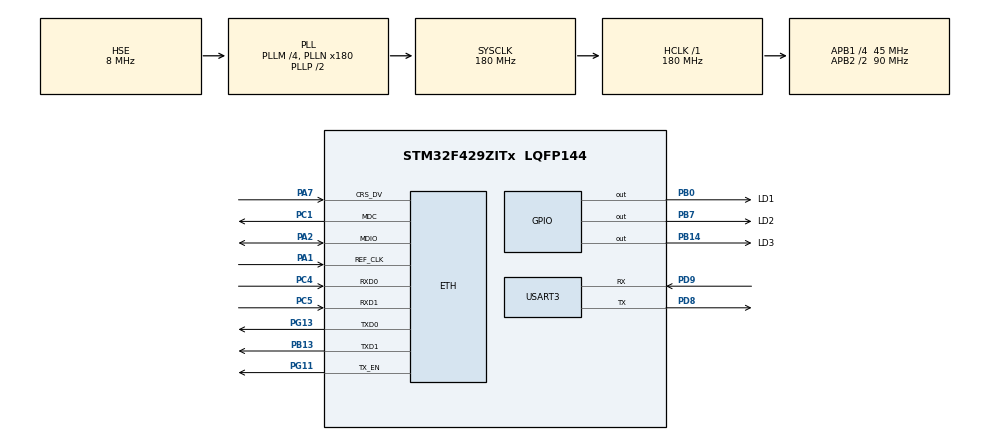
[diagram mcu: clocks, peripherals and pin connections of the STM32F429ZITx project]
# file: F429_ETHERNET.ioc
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ETH.MediaInterface=HAL_ETH_RMII_MODE
ETH.PHY_DUPLEX_STATUS=0x0010
ETH.PHY_Name_RMII=userPHY
ETH.PHY_SPEED_STATUS=0x0004
ETH.PHY_SR=0x1F
ETH.PHY_User_Name=\ LAN8720A
FREERTOS.Tasks01=startup_thread,0,1024,startup,Default,NULL,Dynamic,NULL,NULL;Usart,-3,128,StartTask02,Default,NULL,Dynamic,NULL,NULL
FREERTOS.configENABLE_FPU=1
FREERTOS.configGENERATE_RUN_TIME_STATS=1
FREERTOS.configTOTAL_HEAP_SIZE=65536
FREERTOS.configUSE_STATS_FORMATTING_FUNCTIONS=1
FREERTOS.configUSE_TIMERS=0
FREERTOS.configUSE_TRACE_FACILITY=1
LWIP.BSP.number=1
LWIP.GATEWAY_ADDRESS=010.002.133.254
LWIP.IP_ADDRESS=010.002.133.033
LWIP.LWIP_DHCP=0
LWIP.LWIP_NETIF_STATUS_CALLBACK=0
LWIP.LWIP_UDP=0
LWIP.NETMASK_ADDRESS=255.255.255.000
LWIP.Version=v2.1.2_Cube
LWIP0.BSP.STBoard=false
LWIP0.BSP.api=BSP_COMPONENT_DRIVER
LWIP0.BSP.component=LAN8742
LWIP0.BSP.instance=LAN8742
LWIP0.BSP.name=Driver_PHY
LWIP0.BSP.semaphore=S_LAN8742
LWIP0.BSP.solution=LAN8742
Mcu.Family=STM32F4
Mcu.Name=STM32F429ZITx
Mcu.Package=LQFP144
NVIC.ETH_IRQn=true\:5\:0\:false\:false\:true\:true\:false\:true\:true
NVIC.PriorityGroup=NVIC_PRIORITYGROUP_4
NVIC.TIM1_UP_TIM10_IRQn=true\:15\:0\:false\:false\:true\:false\:false\:true\:true
NVIC.TIM6_DAC_IRQn=true\:5\:0\:false\:false\:true\:true\:true\:true\:true
NVIC.TimeBase=TIM1_UP_TIM10_IRQn
NVIC.TimeBaseIP=TIM1
NVIC.USART3_IRQn=true\:5\:0\:false\:false\:true\:true\:true\:true\:true
PA1.Mode=RMII
PA1.Signal=ETH_REF_CLK
PA13.Mode=Serial_Wire
PA13.Signal=SYS_JTMS-SWDIO
PA14.Mode=Serial_Wire
PA14.Signal=SYS_JTCK-SWCLK
PA2.Mode=RMII
PA2.Signal=ETH_MDIO
PA7.Mode=RMII
PA7.Signal=ETH_CRS_DV
PB0.GPIO_Label=LD1
PB0.Signal=GPIO_Output
PB13.Mode=RMII
PB13.Signal=ETH_TXD1
PB14.GPIO_Label=LD3
PB14.Signal=GPIO_Output
PB7.GPIO_Label=LD2
PB7.PinState=GPIO_PIN_SET
PB7.Signal=GPIO_Output
PC1.Mode=RMII
PC1.Signal=ETH_MDC
PC14/OSC32_IN.Mode=LSE-External-Oscillator
PC14/OSC32_IN.Signal=RCC_OSC32_IN
PC15/OSC32_OUT.Mode=LSE-External-Oscillator
PC15/OSC32_OUT.Signal=RCC_OSC32_OUT
PC4.Mode=RMII
PC4.Signal=ETH_RXD0
PC5.Mode=RMII
PC5.Signal=ETH_RXD1
PD8.Mode=Asynchronous
PD8.Signal=USART3_TX
PD9.Mode=Asynchronous
PD9.Signal=USART3_RX
PG11.Mode=RMII
PG11.Signal=ETH_TX_EN
PG13.Mode=RMII
PG13.Signal=ETH_TXD0
PH0/OSC_IN.Mode=HSE-External-Oscillator
PH0/OSC_IN.Signal=RCC_OSC_IN
PH1/OSC_OUT.Mode=HSE-External-Oscillator
PH1/OSC_OUT.Signal=RCC_OSC_OUT
ProjectManager.HeapSize=0x200
ProjectManager.StackSize=0x400
ProjectManager.TargetToolchain=MDK-ARM V5.32
RCC.48MHZClocksFreq_Value=90000000
RCC.AHBFreq_Value=180000000
RCC.APB1CLKDivider=RCC_HCLK_DIV4
RCC.APB1Freq_Value=45000000
RCC.APB1TimFreq_Value=90000000
RCC.APB2CLKDivider=RCC_HCLK_DIV2
RCC.APB2Freq_Value=90000000
RCC.APB2TimFreq_Value=180000000
RCC.CortexFreq_Value=180000000
RCC.HCLKFreq_Value=180000000
RCC.HSE_VALUE=8000000
RCC.HSI_VALUE=16000000
RCC.PLLM=4
RCC.PLLN=180
RCC.PLLSourceVirtual=RCC_PLLSOURCE_HSE
RCC.SYSCLKFreq_VALUE=180000000
RCC.SYSCLKSource=RCC_SYSCLKSOURCE_PLLCLK
RCC.VCOOutputFreq_Value=360000000
TIM6.AutoReloadPreload=TIM_AUTORELOAD_PRELOAD_ENABLE
TIM6.Period=99
TIM6.Prescaler=89
USART3.VirtualMode=VM_ASYNC
VP_FREERTOS_VS_CMSIS_V1.Mode=CMSIS_V1
VP_LWIP_VS_Enabled.Mode=Enabled
VP_SYS_VS_tim1.Mode=TIM1
VP_TIM6_VS_ClockSourceINT.Mode=Enable_Timer
board=custom

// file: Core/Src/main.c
/* USER CODE BEGIN Header */
/**
  ******************************************************************************
  * @file           : main.c
  * @brief          : Main program body
  ******************************************************************************
  * @attention
  *
  * Copyright (c) 2022 STMicroelectronics.
  * All rights reserved.
  *
  * This software is licensed under terms that can be found in the LICENSE file
  * in the root directory of this software component.
  * If no LICENSE file comes with this software, it is provided AS-IS.
  *
  ******************************************************************************
  */
/* USER CODE END Header */
#include "main.h"
#include "cmsis_os.h"
#include "lwip.h"
#include "tim.h"
#include "usart.h"
#include "gpio.h"

void SystemClock_Config(void);
void MX_FREERTOS_Init(void);

/* USER CODE BEGIN 0 */
int fputc(int ch, FILE *f)
{
	HAL_UART_Transmit(&huart3, (uint8_t*)&ch, 1, 0xff);
	return ch;
}
/* USER CODE END 0 */

int main(void)
{

  /* MCU Configuration--------------------------------------------------------*/

  /* Reset of all peripherals, Initializes the Flash interface and the Systick. */
  HAL_Init();

  /* Configure the system clock */
  SystemClock_Config();

  /* Initialize all configured peripherals */
  MX_GPIO_Init();
  MX_USART3_UART_Init();
  MX_TIM6_Init();
  /* USER CODE BEGIN 2 */
	HAL_TIM_Base_Start_IT(&htim6);
  /* USER CODE END 2 */

  /* Call init function for freertos objects (in freertos.c) */
  MX_FREERTOS_Init();

  /* Start scheduler */
  osKernelStart();

  /* We should never get here as control is now taken by the scheduler */
  /* Infinite loop */
  while (1)
  {

  }
}

void SystemClock_Config(void)
{
  RCC_OscInitTypeDef RCC_OscInitStruct = {0};
  RCC_ClkInitTypeDef RCC_ClkInitStruct = {0};

  /** Configure the main internal regulator output voltage
  */
  __HAL_RCC_PWR_CLK_ENABLE();
  __HAL_PWR_VOLTAGESCALING_CONFIG(PWR_REGULATOR_VOLTAGE_SCALE1);

  /** Initializes the RCC Oscillators according to the specified parameters
  * in the RCC_OscInitTypeDef structure.
  */
  RCC_OscInitStruct.OscillatorType = RCC_OSCILLATORTYPE_HSE;
  RCC_OscInitStruct.HSEState = RCC_HSE_ON;
  RCC_OscInitStruct.PLL.PLLState = RCC_PLL_ON;
  RCC_OscInitStruct.PLL.PLLSource = RCC_PLLSOURCE_HSE;
  RCC_OscInitStruct.PLL.PLLM = 4;
  RCC_OscInitStruct.PLL.PLLN = 180;
  RCC_OscInitStruct.PLL.PLLP = RCC_PLLP_DIV2;
  RCC_OscInitStruct.PLL.PLLQ = 4;
  if (HAL_RCC_OscConfig(&RCC_OscInitStruct) != HAL_OK)
  {
    Error_Handler();
  }

  /** Activate the Over-Drive mode
  */
  if (HAL_PWREx_EnableOverDrive() != HAL_OK)
  {
    Error_Handler();
  }

  /** Initializes the CPU, AHB and APB buses clocks
  */
  RCC_ClkInitStruct.ClockType = RCC_CLOCKTYPE_HCLK|RCC_CLOCKTYPE_SYSCLK
                              |RCC_CLOCKTYPE_PCLK1|RCC_CLOCKTYPE_PCLK2;
  RCC_ClkInitStruct.SYSCLKSource = RCC_SYSCLKSOURCE_PLLCLK;
  RCC_ClkInitStruct.AHBCLKDivider = RCC_SYSCLK_DIV1;
  RCC_ClkInitStruct.APB1CLKDivider = RCC_HCLK_DIV4;
  RCC_ClkInitStruct.APB2CLKDivider = RCC_HCLK_DIV2;

  if (HAL_RCC_ClockConfig(&RCC_ClkInitStruct, FLASH_LATENCY_5) != HAL_OK)
  {
    Error_Handler();
  }
}

/* USER CODE BEGIN 4 */
uint32_t g_osRuntimeCounter = 0;        //FreeRTOS运行计数
/* USER CODE END 4 */

void HAL_TIM_PeriodElapsedCallback(TIM_HandleTypeDef *htim)
{
  if (htim->Instance == TIM1) {
    HAL_IncTick();
  }
  /* USER CODE BEGIN Callback 1 */
  if (htim->Instance == TIM6) {
		g_osRuntimeCounter ++;
  }
  /* USER CODE END Callback 1 */
}

void Error_Handler(void)
{
  __disable_irq();
  while (1)
  {
  }
}

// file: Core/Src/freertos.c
/* USER CODE BEGIN Header */
/**
  ******************************************************************************
  * File Name          : freertos.c
  * Description        : Code for freertos applications
  ******************************************************************************
  * @attention
  *
  * Copyright (c) 2022 STMicroelectronics.
  * All rights reserved.
  *
  * This software is licensed under terms that can be found in the LICENSE file
  * in the root directory of this software component.
  * If no LICENSE file comes with this software, it is provided AS-IS.
  *
  ******************************************************************************
  */
/* USER CODE END Header */

#include "FreeRTOS.h"
#include "task.h"
#include "main.h"
#include "cmsis_os.h"

/* USER CODE BEGIN Includes */
#include <stdio.h>
#include <stdlib.h>
#include <string.h>
#include "client.h"
#include "sockets.h"
/* USER CODE END Includes */

osThreadId startup_threadHandle;
osThreadId UsartHandle;

void startup(void const * argument);
void StartTask02(void const * argument);

extern void MX_LWIP_Init(void);
void MX_FREERTOS_Init(void); /* (MISRA C 2004 rule 8.1) */

/* GetIdleTaskMemory prototype (linked to static allocation support) */
void vApplicationGetIdleTaskMemory( StaticTask_t **ppxIdleTaskTCBBuffer, StackType_t **ppxIdleTaskStackBuffer, uint32_t *pulIdleTaskStackSize );

/* Hook prototypes */
void configureTimerForRunTimeStats(void);
unsigned long getRunTimeCounterValue(void);

/* USER CODE BEGIN 1 */
extern uint32_t g_osRuntimeCounter ;
/* Functions needed when configGENERATE_RUN_TIME_STATS is on */
__weak void configureTimerForRunTimeStats(void)
{
	g_osRuntimeCounter = 0;
}

__weak unsigned long getRunTimeCounterValue(void)
{
return g_osRuntimeCounter;
}
/* USER CODE END 1 */

/* USER CODE BEGIN GET_IDLE_TASK_MEMORY */
static StaticTask_t xIdleTaskTCBBuffer;
static StackType_t xIdleStack[configMINIMAL_STACK_SIZE];

void vApplicationGetIdleTaskMemory( StaticTask_t **ppxIdleTaskTCBBuffer, StackType_t **ppxIdleTaskStackBuffer, uint32_t *pulIdleTaskStackSize )
{
  *ppxIdleTaskTCBBuffer = &xIdleTaskTCBBuffer;
  *ppxIdleTaskStackBuffer = &xIdleStack[0];
  *pulIdleTaskStackSize = configMINIMAL_STACK_SIZE;
  /* place for user code */
}
/* USER CODE END GET_IDLE_TASK_MEMORY */

void MX_FREERTOS_Init(void) {

  /* Create the thread(s) */
  /* definition and creation of startup_thread */
  osThreadDef(startup_thread, startup, osPriorityNormal, 0, 1024);
  startup_threadHandle = osThreadCreate(osThread(startup_thread), NULL);

  /* definition and creation of Usart */
  osThreadDef(Usart, StartTask02, osPriorityIdle, 0, 128);
  UsartHandle = osThreadCreate(osThread(Usart), NULL);

}

void startup(void const * argument)
{
  /* init code for LWIP */
  MX_LWIP_Init();
  /* USER CODE BEGIN startup */
	ClientInit();
	vTaskDelete(startup_threadHandle);
  /* Infinite loop */
  for(;;)
  {
    osDelay(1);
  }
  /* USER CODE END startup */
}

void StartTask02(void const * argument)
{
  /* USER CODE BEGIN StartTask02 */
  /* Infinite loop */
  for(;;)
  {
		char *pbuffer = (char *)calloc(200, sizeof(char));
		vTaskList(pbuffer);
		printf("----------------------------------------------\r\n");
		printf("Task_name state         priority     remaining_stack  Task_Num\r\n");
		printf("%s", pbuffer);
		memset(pbuffer, 0, sizeof(char)*200);
		printf("----------------------------------------------\r\n");
		printf("Task_name   Running count                 usage\r\n");
    vTaskGetRunTimeStats(pbuffer);
    printf("%s", pbuffer);
    free(pbuffer);
		printf("----------------------------------------------\r\n");
		printf("FreeHeapSize:%d\n",xPortGetFreeHeapSize());

		HAL_GPIO_TogglePin(LD3_GPIO_Port, LD3_Pin);
		vTaskDelay(2000);
//    osDelay(1);
  }
  /* USER CODE END StartTask02 */
}
